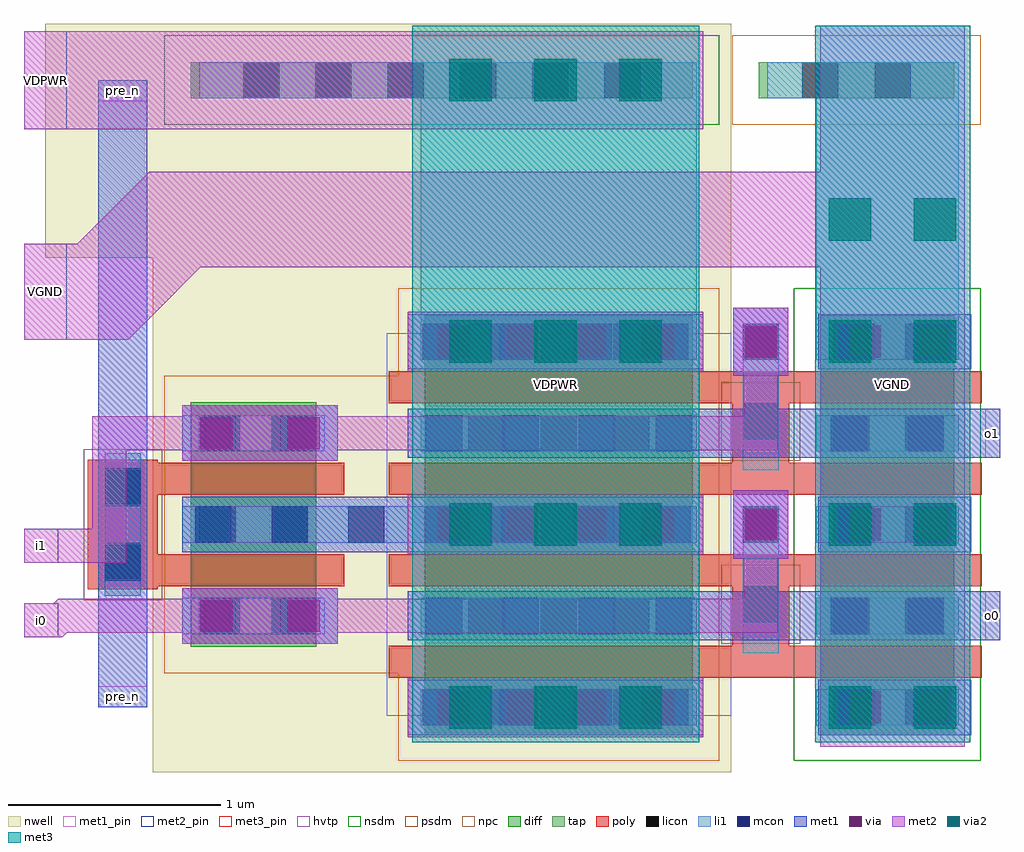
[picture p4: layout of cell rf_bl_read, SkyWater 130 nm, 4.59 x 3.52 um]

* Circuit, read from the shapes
.subckt rf_bl_read VDPWR VGND i0 i1 o0 o1 pre_n
XM1 o0 i0 VGND VGND sky130_fd_pr__nfet_01v8 w=0.63 l=0.15 m=2
XM2 o1 i1 VGND VGND sky130_fd_pr__nfet_01v8 w=0.63 l=0.15 m=2
XM3 VDPWR pre_n i0 VDPWR sky130_fd_pr__pfet_01v8 w=0.59 l=0.15
XM4 i1 pre_n VDPWR VDPWR sky130_fd_pr__pfet_01v8 w=0.59 l=0.15
XM5 o0 i0 VDPWR VDPWR sky130_fd_pr__pfet_01v8_hvt w=1.26 l=0.15 m=2
XM6 o1 i1 VDPWR VDPWR sky130_fd_pr__pfet_01v8_hvt w=1.26 l=0.15 m=2
.ends

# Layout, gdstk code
import gdstk
lib = gdstk.Library(unit=1e-6, precision=1e-09)
def R(c, l, rs):  # rectangles x0, y0, x1, y1
    for r in rs: c.add(gdstk.rectangle(r[:2], r[2:], *l))
def A(c, l, x, y, w, h, nx, ny, dx, dy):  # array of equal rectangles
    R(c, l, [(x+i*dx, y+j*dy, x+i*dx+w, y+j*dy+h) for i in range(nx) for j in range(ny)])
def P(c, l, *ps):  # polygons
    for p in ps: c.add(gdstk.Polygon(p, *l))
nwell = (64, 20)
diff = (65, 20)
tap = (65, 44)
poly = (66, 20)
licon = (66, 44)
li1 = (67, 20)
mcon = (67, 44)
met1_pin = (68, 16)
met1 = (68, 20)
via = (68, 44)
met2_pin = (69, 16)
met2 = (69, 20)
via2 = (69, 44)
met3_pin = (70, 16)
met3 = (70, 20)
hvtp = (78, 44)
nsdm = (93, 44)
psdm = (94, 20)
npc = (95, 20)

rf_bl_read = lib.new_cell('rf_bl_read')
R(rf_bl_read, nwell, [(0.77,-0.305,3.49,2.115), (0.265,2.115,3.49,3.215)])
R(rf_bl_read, diff, [(2.05,-0.125,3.31,1.845), (3.91,-0.125,4.54,1.845), (0.95,0.285,1.54,1.435)])
R(rf_bl_read, tap, [(0.95,2.865,3.31,3.035), (3.62,2.865,4.54,3.035)])
A(rf_bl_read, poly, 1.88, 0.14, 2.79, 0.15, 1, 4, 0, 0.43)
R(rf_bl_read, poly, [(3.495,0.29,3.765,0.57), (0.465,0.555,0.795,0.57), (0.465,0.57,1.67,0.72), (0.465,0.72,0.795,1), (0.465,1,1.67,1.15), (0.465,1.15,0.795,1.165), (3.495,1.15,3.765,1.43)])
A(rf_bl_read, licon, 2.255, -0.085, 0.17, 0.17, 3, 5, 0.34, 0.43)
A(rf_bl_read, licon, 3.97, -0.085, 0.17, 0.17, 1, 5, 0, 0.43)
A(rf_bl_read, licon, 4.31, -0.085, 0.17, 0.17, 1, 5, 0, 0.43)
A(rf_bl_read, licon, 0.99, 0.345, 0.17, 0.17, 1, 3, 0, 0.43)
A(rf_bl_read, licon, 1.33, 0.345, 0.17, 0.17, 1, 3, 0, 0.43)
A(rf_bl_read, licon, 1.195, 2.865, 0.17, 0.17, 6, 1, 0.34, 0)
R(rf_bl_read, licon, [(3.545,0.4,3.715,0.57), (0.545,0.605,0.715,0.775), (0.545,0.945,0.715,1.115), (3.545,1.26,3.715,1.43), (3.825,2.865,3.995,3.035), (4.165,2.865,4.335,3.035)])
A(rf_bl_read, li1, 3.89, -0.085, 0.67, 0.17, 1, 4, 0, 0.43)
R(rf_bl_read, li1, [(2.03,-0.085,3.33,0.085), (3.545,0.255,3.715,0.945), (0.91,0.345,1.58,0.515), (2.03,0.345,3.33,0.515), (0.545,0.525,0.715,1.195), (0.91,0.775,3.33,0.945), (3.545,1.115,3.715,1.805), (0.91,1.205,1.58,1.375), (2.03,1.205,3.33,1.375), (2.03,1.635,3.33,2.865), (3.89,1.635,4.56,2.865), (0.99,2.865,3.33,3.035), (3.66,2.865,4.56,3.035)])
A(rf_bl_read, mcon, 2.04, -0.085, 0.17, 0.17, 4, 2, 0.36, 1.72)
A(rf_bl_read, mcon, 3.995, -0.085, 0.17, 0.17, 1, 3, 0, 0.86)
A(rf_bl_read, mcon, 4.355, -0.085, 0.17, 0.17, 1, 3, 0, 0.86)
A(rf_bl_read, mcon, 2.055, 0.345, 0.17, 0.17, 4, 2, 0.36, 0.86)
A(rf_bl_read, mcon, 0.97, 0.775, 0.17, 0.17, 7, 1, 0.36, 0)
R(rf_bl_read, mcon, [(1.01,0.345,1.18,0.515), (1.37,0.345,1.54,0.515), (3.96,0.345,4.13,0.515), (4.32,0.345,4.49,0.515), (0.545,0.595,0.715,0.765), (3.545,0.775,3.715,0.945), (0.545,0.955,0.715,1.125), (1.01,1.205,1.18,1.375), (1.37,1.205,1.54,1.375), (3.96,1.205,4.13,1.375), (4.32,1.205,4.49,1.375), (3.545,1.635,3.715,1.805)])
R(rf_bl_read, met1_pin, [(0.515,0,0.745,0.1), (4.685,0.315,4.755,0.545), (4.685,1.175,4.755,1.405), (0.515,2.85,0.745,2.95)])
A(rf_bl_read, met1, 3.9, -0.13, 0.72, 0.26, 1, 3, 0, 0.86)
R(rf_bl_read, met1, [(1.97,-0.13,3.36,0.13), (0.515,0,0.745,2.95), (0.91,0.3,1.64,0.56), (1.97,0.315,4.755,0.545), (3.5,0.7,3.76,1.02), (0.91,0.73,3.36,0.99), (0.91,1.16,1.64,1.42), (1.97,1.175,4.755,1.405), (3.5,1.56,3.76,1.88), (1.97,1.59,3.36,1.85)])
A(rf_bl_read, via, 2.11, -0.075, 0.15, 0.15, 4, 3, 0.32, 0.86)
A(rf_bl_read, via, 4.045, -0.075, 0.15, 0.15, 1, 3, 0, 0.86)
A(rf_bl_read, via, 4.365, -0.075, 0.15, 0.15, 1, 3, 0, 0.86)
R(rf_bl_read, via, [(0.995,0.355,1.145,0.505), (1.405,0.355,1.555,0.505), (3.555,0.785,3.705,0.935), (0.995,1.215,1.145,1.365), (1.405,1.215,1.555,1.365), (3.555,1.645,3.705,1.795)])
R(rf_bl_read, met2_pin, [(0.165,0.33,0.325,0.49), (0.165,0.68,0.325,0.84), (0.165,1.73,0.365,2.18), (0.165,2.72,0.365,3.18)])
A(rf_bl_read, met2, 1.97, -0.14, 1.39, 0.28, 1, 3, 0, 0.86)
R(rf_bl_read, met2, [(3.91,-0.185,4.59,2.07), (0.91,0.3,1.64,0.35), (0.165,0.33,0.345,0.35), (0.165,0.35,3.71,0.49), (0.325,0.49,3.71,0.51), (0.91,0.51,1.64,0.56), (3.55,0.51,3.71,0.7), (0.165,0.68,0.645,0.84), (3.5,0.7,3.76,1.02), (0.485,0.84,0.645,1.21), (0.91,1.16,1.64,1.21), (0.485,1.21,3.71,1.37), (0.91,1.37,1.64,1.42), (3.55,1.37,3.71,1.56), (3.5,1.56,3.76,1.88), (0.165,1.73,0.655,1.85), (0.165,1.85,0.775,2.07), (0.165,2.07,4.59,2.18), (0.755,2.18,4.59,2.52), (3.91,2.52,4.59,3.205), (0.165,2.72,3.36,3.18)])
P(rf_bl_read, met2, [(0.415,2.18),(0.755,2.18),(0.755,2.52)],
  [(0.775,1.85),(0.775,2.07),(0.995,2.07)],
  [(0.655,1.73),(0.655,1.85),(0.775,1.85)],
  [(0.305,0.49),(0.325,0.49),(0.325,0.51)],
  [(0.345,0.33),(0.345,0.35),(0.365,0.35)])
A(rf_bl_read, via2, 2.165, -0.1, 0.2, 0.2, 3, 3, 0.4, 0.86)
A(rf_bl_read, via2, 3.95, -0.1, 0.2, 0.2, 1, 3, 0, 0.86)
A(rf_bl_read, via2, 4.35, -0.1, 0.2, 0.2, 1, 3, 0, 0.86)
A(rf_bl_read, via2, 2.165, 2.85, 0.2, 0.2, 3, 1, 0.4, 0)
R(rf_bl_read, via2, [(3.95,2.195,4.15,2.395), (4.35,2.195,4.55,2.395)])
R(rf_bl_read, met3_pin, [(1.99,-0.165,3.34,3.205), (3.885,-0.165,4.615,3.205)])
R(rf_bl_read, met3, [(1.99,-0.165,3.34,3.205), (3.885,-0.165,4.615,3.205)])
R(rf_bl_read, hvtp, [(1.87,-0.04,3.49,1.76)])
R(rf_bl_read, nsdm, [(3.785,-0.25,4.665,1.97), (0.825,2.74,3.435,3.16)])
R(rf_bl_read, psdm, [(1.925,-0.25,3.435,0.16), (0.825,0.16,3.435,1.56), (1.925,1.56,3.435,1.97), (3.495,2.74,4.665,3.16)])
R(rf_bl_read, npc, [(3.445,0.3,3.815,0.67), (0.445,0.505,0.815,1.215), (3.445,1.16,3.815,1.53)])
rf_bl_read.add(gdstk.Label('VGND', (4.25,1.52), layer=70, texttype=5))
rf_bl_read.add(gdstk.Label('VGND', (0.265,1.955), layer=69, texttype=5))
rf_bl_read.add(gdstk.Label('VDPWR', (2.665,1.52), layer=70, texttype=5))
rf_bl_read.add(gdstk.Label('VDPWR', (0.265,2.95), layer=69, texttype=5))
rf_bl_read.add(gdstk.Label('pre_n', (0.63,0.05), layer=68, texttype=5))
rf_bl_read.add(gdstk.Label('pre_n', (0.63,2.9), layer=68, texttype=5))
rf_bl_read.add(gdstk.Label('i0', (0.245,0.41), layer=69, texttype=5))
rf_bl_read.add(gdstk.Label('i1', (0.245,0.76), layer=69, texttype=5))
rf_bl_read.add(gdstk.Label('o0', (4.72,0.43), layer=68, texttype=5))
rf_bl_read.add(gdstk.Label('o1', (4.72,1.29), layer=68, texttype=5))

lib.write_gds('rf_bl_read.gds')
